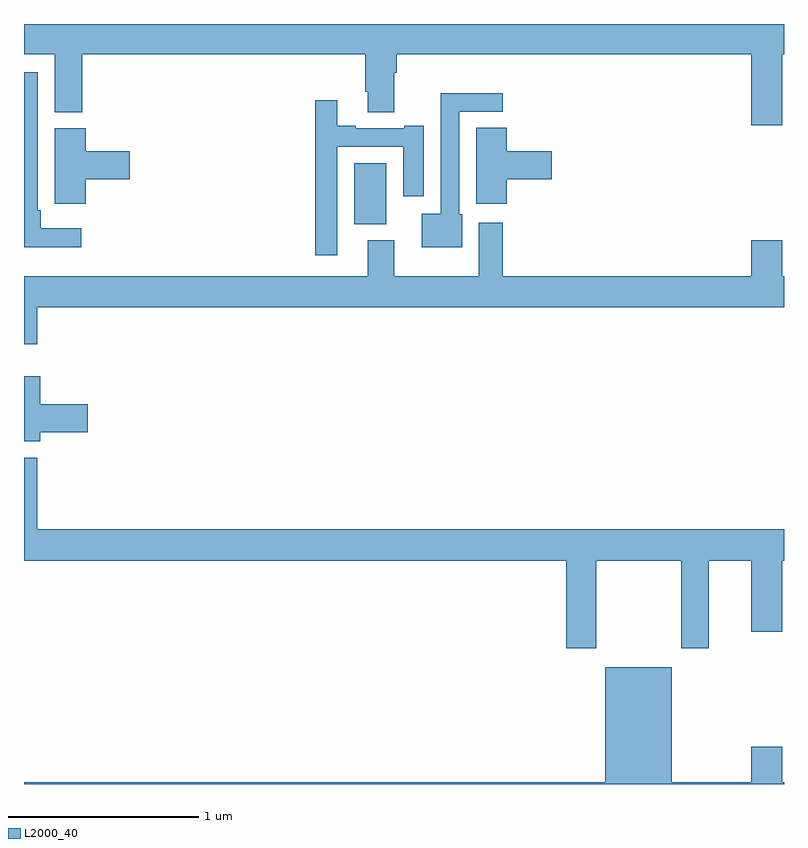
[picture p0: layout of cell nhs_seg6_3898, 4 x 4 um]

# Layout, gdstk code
import gdstk
lib = gdstk.Library(unit=1e-6, precision=1e-09)
def R(c, l, rs):  # rectangles x0, y0, x1, y1
    for r in rs: c.add(gdstk.rectangle(r[:2], r[2:], *l))
def P(c, l, *ps):  # polygons
    for p in ps: c.add(gdstk.Polygon(p, *l))
L2000_40 = (2000, 40)

nhs_seg6_3898 = lib.new_cell('nhs_seg6_3898')
R(nhs_seg6_3898, L2000_40, [(342.737,942.446,342.907,942.766)])
P(nhs_seg6_3898, L2000_40, [(344.992,943.34),(345,943.34),(345,943.5),(341,943.5),(341,943.34),(341.162,943.34),(341.162,943.036),(341.306,943.036),(341.306,943.34),(342.797,943.34),(342.797,943.144),(342.809,943.144),(342.809,943.036),(342.949,943.036),(342.949,943.244),(342.962,943.244),(342.962,943.34),(344.828,943.34),(344.828,942.966),(344.992,942.966)],
  [(341.302,942.424),(341.089,942.424),(341.089,942.52),(341.073,942.52),(341.073,943.246),(341,943.246),(341,942.326),(341.302,942.326)],
  [(343.306,942.498),(343.29,942.498),(343.29,943.038),(343.519,943.038),(343.519,943.136),(343.194,943.136),(343.194,942.502),(343.094,942.502),(343.094,942.326),(343.306,942.326)],
  [(342.648,942.855),(342.995,942.855),(342.995,942.594),(343.105,942.594),(343.105,942.964),(343.001,942.964),(343.001,942.951),(342.745,942.951),(342.745,942.964),(342.649,942.964),(342.649,943.099),(342.532,943.099),(342.532,942.282),(342.648,942.282)],
  [(343.541,942.683),(343.777,942.683),(343.777,942.83),(343.541,942.83),(343.541,942.953),(343.379,942.953),(343.379,942.555),(343.541,942.555)],
  [(341.324,942.683),(341.557,942.683),(341.557,942.83),(341.324,942.83),(341.324,942.951),(341.162,942.951),(341.162,942.667),(341.163,942.667),(341.163,942.555),(341.324,942.555)],
  [(341.069,942.008),(345,942.008),(345,942.172),(344.992,942.172),(344.992,942.361),(344.828,942.361),(344.828,942.172),(343.52,942.172),(343.52,942.454),(343.394,942.454),(343.394,942.172),(342.949,942.172),(342.949,942.361),(342.809,942.361),(342.809,942.172),(341,942.172),(341,941.814),(341.069,941.814)],
  [(341.086,941.351),(341.335,941.351),(341.335,941.498),(341.086,941.498),(341.086,941.647),(341,941.647),(341,941.303),(341.086,941.303)],
  [(344.013,940.676),(344.458,940.676),(344.458,940.215),(344.605,940.215),(344.605,940.676),(344.828,940.676),(344.828,940.302),(344.992,940.302),(344.992,940.676),(345,940.676),(345,940.84),(341.069,940.84),(341.069,941.218),(341,941.218),(341,940.676),(343.853,940.676),(343.853,940.215),(344.013,940.215)],
  [(345,939.508),(344.992,939.508),(344.992,939.697),(344.828,939.697),(344.828,939.508),(344.41,939.508),(344.41,940.114),(344.06,940.114),(344.06,939.508),(341,939.508),(341,939.5),(345,939.5)])

lib.write_gds('nhs_seg6_3898.gds')
